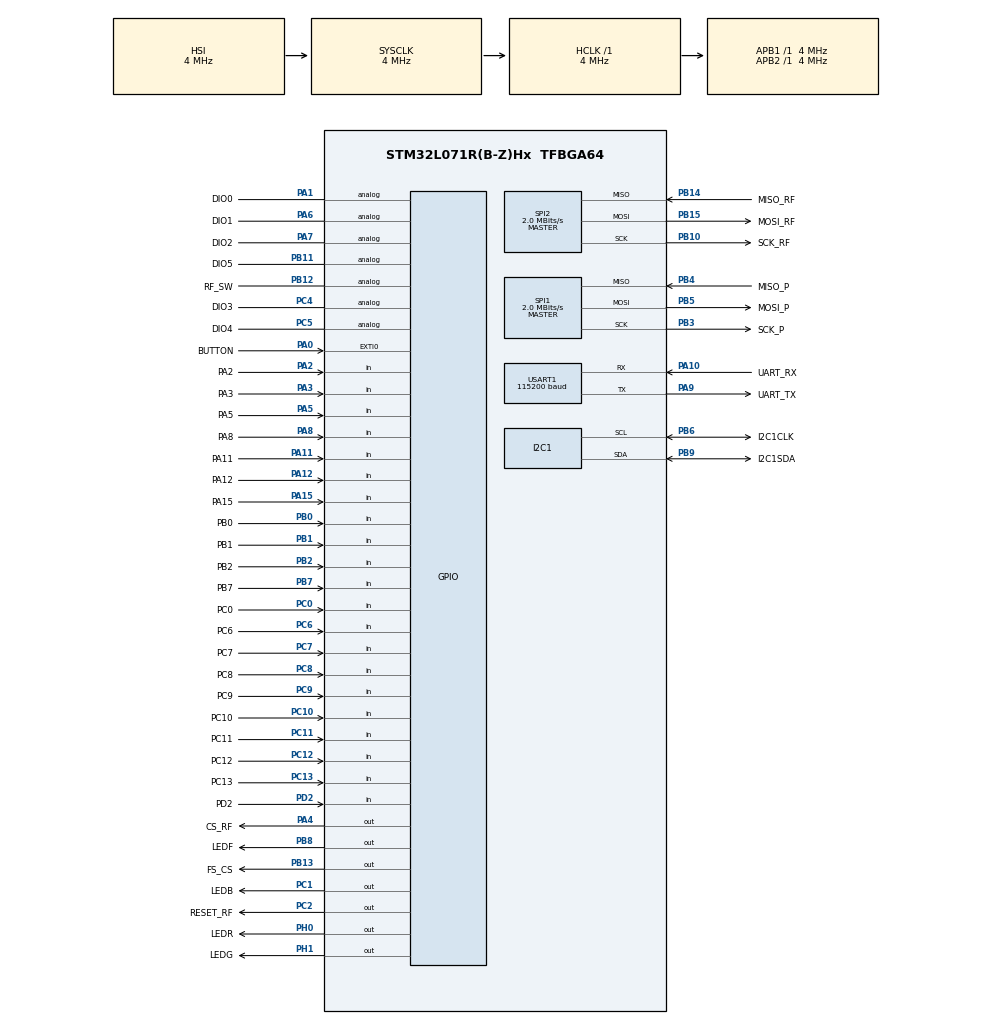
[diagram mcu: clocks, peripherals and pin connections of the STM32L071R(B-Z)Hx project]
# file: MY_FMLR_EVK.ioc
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I2C1.Timing=0x00000E14
Mcu.Family=STM32L0
Mcu.Name=STM32L071R(B-Z)Hx
Mcu.Package=TFBGA64
NVIC.RTC_IRQn=true\:0\:0\:false\:false\:true\:true\:true\:true
PA0.GPIO_Label=BUTTON
PA0.GPIO_ModeDefaultEXTI=GPIO_MODE_IT_RISING_FALLING
PA0.GPIO_PuPd=GPIO_PULLDOWN
PA0.Signal=GPXTI0
PA1.GPIO_Label=DIO0
PA1.Signal=GPIO_Analog
PA10.GPIO_Label=UART_RX
PA10.Mode=Asynchronous
PA10.Signal=USART1_RX
PA11.GPIO_Label=PA11
PA11.GPIO_PuPd=GPIO_PULLDOWN
PA11.Signal=GPIO_Input
PA12.GPIO_Label=PA12
PA12.GPIO_PuPd=GPIO_PULLDOWN
PA12.Signal=GPIO_Input
PA13.Mode=Serial_Wire
PA13.Signal=SYS_SWDIO
PA14.Mode=Serial_Wire
PA14.Signal=SYS_SWCLK
PA15.GPIO_Label=PA15
PA15.GPIO_PuPd=GPIO_PULLDOWN
PA15.Signal=GPIO_Input
PA2.GPIO_Label=PA2
PA2.GPIO_PuPd=GPIO_PULLDOWN
PA2.Signal=GPIO_Input
PA3.GPIO_Label=PA3
PA3.GPIO_PuPd=GPIO_PULLDOWN
PA3.Signal=GPIO_Input
PA4.GPIO_Label=CS_RF
PA4.PinState=GPIO_PIN_SET
PA4.Signal=GPIO_Output
PA5.GPIO_Label=PA5
PA5.GPIO_PuPd=GPIO_PULLDOWN
PA5.Signal=GPIO_Input
PA6.GPIO_Label=DIO1
PA6.Signal=GPIO_Analog
PA7.GPIO_Label=DIO2
PA7.Signal=GPIO_Analog
PA8.GPIO_Label=PA8
PA8.GPIO_PuPd=GPIO_PULLDOWN
PA8.Signal=GPIO_Input
PA9.GPIO_Label=UART_TX
PA9.GPIO_Speed=GPIO_SPEED_FREQ_HIGH
PA9.Mode=Asynchronous
PA9.Signal=USART1_TX
PB0.GPIO_Label=PB0
PB0.GPIO_PuPd=GPIO_PULLDOWN
PB0.Signal=GPIO_Input
PB1.GPIO_Label=PB1
PB1.GPIO_PuPd=GPIO_PULLDOWN
PB1.Signal=GPIO_Input
PB10.GPIO_Label=SCK_RF
PB10.Mode=Full_Duplex_Master
PB10.Signal=SPI2_SCK
PB11.GPIO_Label=DIO5
PB11.Signal=GPIO_Analog
PB12.GPIO_Label=RF_SW
PB12.Signal=GPIO_Analog
PB13.GPIO_Label=FS_CS
PB13.GPIO_ModeDefaultOutputPP=GPIO_MODE_OUTPUT_OD
PB13.GPIO_PuPd=GPIO_NOPULL
PB13.PinState=GPIO_PIN_SET
PB13.Signal=GPIO_Output
PB14.GPIO_Label=MISO_RF
PB14.Mode=Full_Duplex_Master
PB14.Signal=SPI2_MISO
PB15.GPIO_Label=MOSI_RF
PB15.Mode=Full_Duplex_Master
PB15.Signal=SPI2_MOSI
PB2.GPIO_Label=PB2
PB2.GPIO_PuPd=GPIO_PULLDOWN
PB2.Signal=GPIO_Input
PB3.GPIO_Label=SCK_P
PB3.Mode=Full_Duplex_Master
PB3.Signal=SPI1_SCK
PB4.GPIO_Label=MISO_P
PB4.GPIO_PuPd=GPIO_PULLUP
PB4.Mode=Full_Duplex_Master
PB4.Signal=SPI1_MISO
PB5.GPIO_Label=MOSI_P
PB5.Mode=Full_Duplex_Master
PB5.Signal=SPI1_MOSI
PB6.GPIO_FM6=__NULL
PB6.GPIO_Label=I2C1CLK
PB6.GPIO_Speed=GPIO_SPEED_FREQ_HIGH
PB6.Mode=I2C
PB6.Signal=I2C1_SCL
PB7.GPIO_Label=PB7
PB7.GPIO_PuPd=GPIO_PULLDOWN
PB7.Signal=GPIO_Input
PB8.GPIO_Label=LEDF
PB8.PinState=GPIO_PIN_SET
PB8.Signal=GPIO_Output
PB9.GPIO_Label=I2C1SDA
PB9.GPIO_Speed=GPIO_SPEED_FREQ_HIGH
PB9.Mode=I2C
PB9.Signal=I2C1_SDA
PC0.GPIO_Label=PC0
PC0.GPIO_PuPd=GPIO_PULLDOWN
PC0.Signal=GPIO_Input
PC1.GPIO_Label=LEDB
PC1.PinState=GPIO_PIN_SET
PC1.Signal=GPIO_Output
PC10.GPIO_Label=PC10
PC10.GPIO_PuPd=GPIO_PULLDOWN
PC10.Signal=GPIO_Input
PC11.GPIO_Label=PC11
PC11.GPIO_PuPd=GPIO_PULLDOWN
PC11.Signal=GPIO_Input
PC12.GPIO_Label=PC12
PC12.GPIO_PuPd=GPIO_PULLDOWN
PC12.Signal=GPIO_Input
PC13.GPIO_Label=PC13
PC13.GPIO_PuPd=GPIO_PULLDOWN
PC13.Signal=GPIO_Input
PC14-OSC32_IN.Mode=LSE-External-Oscillator
PC14-OSC32_IN.Signal=RCC_OSC32_IN
PC15-OSC32_OUT.Mode=LSE-External-Oscillator
PC15-OSC32_OUT.Signal=RCC_OSC32_OUT
PC2.GPIO_Label=RESET_RF
PC2.PinState=GPIO_PIN_SET
PC2.Signal=GPIO_Output
PC4.GPIO_Label=DIO3
PC4.Signal=GPIO_Analog
PC5.GPIO_Label=DIO4
PC5.Signal=GPIO_Analog
PC6.GPIO_Label=PC6
PC6.GPIO_PuPd=GPIO_PULLDOWN
PC6.Signal=GPIO_Input
PC7.GPIO_Label=PC7
PC7.GPIO_PuPd=GPIO_PULLDOWN
PC7.Signal=GPIO_Input
PC8.GPIO_Label=PC8
PC8.GPIO_PuPd=GPIO_PULLDOWN
PC8.Signal=GPIO_Input
PC9.GPIO_Label=PC9
PC9.GPIO_PuPd=GPIO_PULLDOWN
PC9.Signal=GPIO_Input
PD2.GPIO_Label=PD2
PD2.GPIO_PuPd=GPIO_PULLDOWN
PD2.Signal=GPIO_Input
PH0-OSC_IN.GPIO_Label=LEDR
PH0-OSC_IN.PinState=GPIO_PIN_SET
PH0-OSC_IN.Signal=GPIO_Output
PH1-OSC_OUT.GPIO_Label=LEDG
PH1-OSC_OUT.PinState=GPIO_PIN_SET
PH1-OSC_OUT.Signal=GPIO_Output
ProjectManager.HeapSize=0x200
ProjectManager.StackSize=0x400
ProjectManager.TargetToolchain=STM32CubeIDE
RCC.ADCFreq_Value=4000000
RCC.AHBFreq_Value=4000000
RCC.APB1Freq_Value=4000000
RCC.APB1TimFreq_Value=4000000
RCC.APB2Freq_Value=4000000
RCC.APB2TimFreq_Value=4000000
RCC.HCLKFreq_Value=4000000
RCC.HSE_VALUE=8000000
RCC.HSI16_VALUE=16000000
RCC.HSIRCDiv=4
RCC.HSI_VALUE=4000000
RCC.MSIClockRange=RCC_MSIRANGE_4
RCC.MSI_VALUE=1048000
RCC.PLLDIV=RCC_PLLDIV_4
RCC.PLLMUL=RCC_PLLMUL_4
RCC.SYSCLKFreq_VALUE=4000000
RCC.SYSCLKSource=RCC_SYSCLKSOURCE_HSI
RCC.Usart1ClockSelection=RCC_USART1CLKSOURCE_SYSCLK
RCC.VCOOutputFreq_Value=16000000
SPI1.BaudRatePrescaler=SPI_BAUDRATEPRESCALER_2
SPI1.CLKPhase=SPI_PHASE_2EDGE
SPI1.CLKPolarity=SPI_POLARITY_HIGH
SPI1.CalculateBaudRate=2.0 MBits/s
SPI1.Direction=SPI_DIRECTION_2LINES
SPI1.Mode=SPI_MODE_MASTER
SPI1.VirtualType=VM_MASTER
SPI2.BaudRatePrescaler=SPI_BAUDRATEPRESCALER_2
SPI2.CalculateBaudRate=2.0 MBits/s
SPI2.Direction=SPI_DIRECTION_2LINES
SPI2.Mode=SPI_MODE_MASTER
SPI2.VirtualType=VM_MASTER
USART1.BaudRate=115200
USART1.VirtualMode-Asynchronous=VM_ASYNC
VP_ADC_TempSens_Input.Mode=IN-TempSens
VP_ADC_Vref_Input.Mode=IN-Vrefint
VP_RTC_VS_RTC_Activate.Mode=RTC_Enabled
VP_RTC_VS_RTC_Calendar.Mode=RTC_Calendar
VP_RTC_VS_RTC_WakeUp_intern.Mode=WakeUp
board=custom

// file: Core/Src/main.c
/* USER CODE BEGIN Header */
/**
  ******************************************************************************
  * @file           : main.c
  * @brief          : Main program body
  ******************************************************************************
  * @attention
  *
  * Copyright (c) 2022 STMicroelectronics.
  * All rights reserved.
  *
  * This software is licensed under terms that can be found in the LICENSE file
  * in the root directory of this software component.
  * If no LICENSE file comes with this software, it is provided AS-IS.
  *
  ******************************************************************************
  */
/* USER CODE END Header */
#include "main.h"

/* USER CODE BEGIN Includes */
#include "Retarget.h"
#include <stdio.h>
#include <string.h>
/* USER CODE END Includes */

/* USER CODE BEGIN PTD */
#define SPI_TIMEOUT_SECS 	3
#define ONE_BYTE 		1
#define TWO_BYTES		2
#define OK 0
#define UART_TIMEOUT		10
#define I2C_TIMEOUT		10
#define SHT31_ADDRESS 		0x8A // Note: Addr << 1
#define SHORT_BLINK   		100
#define LONG_BLINK 		500
/* USER CODE END PTD */

 ADC_HandleTypeDef hadc;

I2C_HandleTypeDef hi2c1;

RTC_HandleTypeDef hrtc;

SPI_HandleTypeDef hspi1;
SPI_HandleTypeDef hspi2;

UART_HandleTypeDef huart1;

/* USER CODE BEGIN PV */
enum  rgb_t { RED, YELLOW, GREEN, CYAN, BLUE, MAGENTA, WHITE, BLACK } ;
/* USER CODE END PV */

void SystemClock_Config(void);
static void MX_GPIO_Init(void);
static void MX_ADC_Init(void);
static void MX_SPI1_Init(void);
static void MX_USART1_UART_Init(void);
static void MX_SPI2_Init(void);
static void MX_I2C1_Init(void);
static void MX_RTC_Init(void);
/* USER CODE BEGIN PFP */
void Error_Msg_Handler(const char *msg);
void EnterStopMode(void);
uint8_t readRegSpi(SPI_HandleTypeDef *hspi, uint8_t reg);
void writeRegSpi(SPI_HandleTypeDef *hspi, uint8_t reg, uint8_t data);
void setRgbLed(int led);
void spiToLowPowerState(void);
/* USER CODE END PFP */

int main(void)
{

  /* MCU Configuration--------------------------------------------------------*/

  /* Reset of all peripherals, Initializes the Flash interface and the Systick. */
  HAL_Init();

  /* Configure the system clock */
  SystemClock_Config();

  /* Initialize all configured peripherals */
  MX_GPIO_Init();
  MX_ADC_Init();
  MX_SPI1_Init();
  MX_USART1_UART_Init();
  MX_SPI2_Init();
  MX_I2C1_Init();
  MX_RTC_Init();
  /* USER CODE BEGIN 2 */
  // Redirect printf to UART1
  RetargetInit(&huart1);

  // Run at Range 2 (Core voltage 1.5V) @ 4MHz to reduce run mode power slightly
  __HAL_PWR_VOLTAGESCALING_CONFIG(PWR_REGULATOR_VOLTAGE_SCALE2);

  /* USER CODE END 2 */

  /* Infinite loop */
  /* USER CODE BEGIN WHILE */
  // Check SHT31 communication over I2C1
   uint8_t reset_cmd[2] = {0x30, 0xa2};
   if (HAL_I2C_Master_Transmit(&hi2c1, SHT31_ADDRESS, reset_cmd, 2, 1000) == HAL_OK) {
 	  printf("\n\rSHT31 successfully reset");
   }
   else {
 	  Error_Msg_Handler("\n\rSHT31 reset failed!");
   }

   // SX1272 is in FSO/OOK mode after reset
   HAL_GPIO_WritePin (RESET_RF_GPIO_Port, RESET_RF_Pin, GPIO_PIN_RESET);
   HAL_Delay(1);
   HAL_GPIO_WritePin (RESET_RF_GPIO_Port, RESET_RF_Pin, GPIO_PIN_SET);
   HAL_Delay(1);
   HAL_GPIO_WritePin (RESET_RF_GPIO_Port, RESET_RF_Pin, GPIO_PIN_RESET);
   HAL_Delay(10);

   // Check SX1272 SPI2 communication
   uint8_t sx_id = readRegSpi(&hspi2,0x42);
   if (sx_id == 0x22) {
       printf("\n\rSX1272 chip ID read OK: %x", sx_id);
   }
   else {
       Error_Msg_Handler("\n\rSX1272 ID read failure!");
   }

   // Send commands to put Semtech SX1272 to sleep
   // (Don't forget to set Bit7 (MSB) of register address for writing!)
   writeRegSpi(&hspi2, 0xC0, 0xFF); // DIOmapping1  to --
   writeRegSpi(&hspi2, 0xC1, 0xFF); // DIOmapping2 to --
   HAL_Delay(10);
   writeRegSpi(&hspi2, 0x81, 0x01); // CRTL1 to STBY mode
   HAL_Delay(10);
   writeRegSpi(&hspi2, 0xA4, 0x07); // REGOSC to CLKOUT=off
   HAL_Delay(10);
   writeRegSpi(&hspi2, 0x81, 0x00); // CTRL1 to SLEEP mode

   //Change SX1272 to LoRa mode from default FSK/OOK:
   HAL_Delay(10);
   writeRegSpi(&hspi2, 0x81, 0x80); // CTRL1 to SLEEP mode
   HAL_GPIO_WritePin (CS_RF_GPIO_Port, CS_RF_Pin, GPIO_PIN_SET);
   printf("\n\rSX1272 should now be in STANDBY mode...");

   // Read MX25 flash ID, then put flash to deep sleep
  uint8_t read_id_cmd[4] = {0x9F,0x55,0xAA,0x55};
  uint8_t read_result[4];
  // CHeck MX25 SPI1 can read chip ID bytes 0xC22813
  HAL_GPIO_WritePin (FS_CS_GPIO_Port, FS_CS_Pin, GPIO_PIN_RESET);
  HAL_SPI_TransmitReceive(&hspi1, read_id_cmd, read_result, 4, SPI_TIMEOUT_SECS);
  HAL_GPIO_WritePin (FS_CS_GPIO_Port, FS_CS_Pin, GPIO_PIN_SET);
  if  (read_result[1]==0xC2 &&  read_result[2]==0x28 && read_result[3]==0x13) {
      printf("\n\rMX25 chip ID read OK: %x %x %x",read_result[1], read_result[2], read_result[3]);
  }
  else {
      Error_Msg_Handler ("MX25 SPI1 ID read failure!");
  }

  uint8_t sleep_command[1] = {0xB9};
  HAL_GPIO_WritePin (FS_CS_GPIO_Port, FS_CS_Pin, GPIO_PIN_RESET);
  HAL_SPI_Transmit(&hspi1, sleep_command, 1, SPI_TIMEOUT_SECS);
  HAL_GPIO_WritePin (FS_CS_GPIO_Port, FS_CS_Pin, GPIO_PIN_SET);
  printf("\n\rMX25 put to deep sleep.");

  printf("\n\rAbout to put STM32 to STOP mode...");
  // Blink LED a few times
  for (int i=0; i<3; i++)
  {
	setRgbLed(MAGENTA);
	HAL_Delay(SHORT_BLINK);
	setRgbLed(BLACK);
	HAL_Delay(SHORT_BLINK);
  }

  EnterStopMode();

  for (int i=0; i<3; i++)
  {
	setRgbLed(YELLOW);
	HAL_Delay(SHORT_BLINK);
	setRgbLed(BLACK);
	HAL_Delay(SHORT_BLINK);
  }
  printf("\n\rSTM32 has resumed execution...");

  while (1)
  {
    /* USER CODE END WHILE */

  }
}

void SystemClock_Config(void)
{
  RCC_OscInitTypeDef RCC_OscInitStruct = {0};
  RCC_ClkInitTypeDef RCC_ClkInitStruct = {0};
  RCC_PeriphCLKInitTypeDef PeriphClkInit = {0};

  /** Configure the main internal regulator output voltage
  */
  __HAL_PWR_VOLTAGESCALING_CONFIG(PWR_REGULATOR_VOLTAGE_SCALE1);

  /** Initializes the RCC Oscillators according to the specified parameters
  * in the RCC_OscInitTypeDef structure.
  */
  RCC_OscInitStruct.OscillatorType = RCC_OSCILLATORTYPE_HSI|RCC_OSCILLATORTYPE_LSI;
  RCC_OscInitStruct.HSIState = RCC_HSI_DIV4;
  RCC_OscInitStruct.HSICalibrationValue = RCC_HSICALIBRATION_DEFAULT;
  RCC_OscInitStruct.LSIState = RCC_LSI_ON;
  RCC_OscInitStruct.PLL.PLLState = RCC_PLL_NONE;
  if (HAL_RCC_OscConfig(&RCC_OscInitStruct) != HAL_OK)
  {
    Error_Handler();
  }

  /** Initializes the CPU, AHB and APB buses clocks
  */
  RCC_ClkInitStruct.ClockType = RCC_CLOCKTYPE_HCLK|RCC_CLOCKTYPE_SYSCLK
                              |RCC_CLOCKTYPE_PCLK1|RCC_CLOCKTYPE_PCLK2;
  RCC_ClkInitStruct.SYSCLKSource = RCC_SYSCLKSOURCE_HSI;
  RCC_ClkInitStruct.AHBCLKDivider = RCC_SYSCLK_DIV1;
  RCC_ClkInitStruct.APB1CLKDivider = RCC_HCLK_DIV1;
  RCC_ClkInitStruct.APB2CLKDivider = RCC_HCLK_DIV1;

  if (HAL_RCC_ClockConfig(&RCC_ClkInitStruct, FLASH_LATENCY_0) != HAL_OK)
  {
    Error_Handler();
  }
  PeriphClkInit.PeriphClockSelection = RCC_PERIPHCLK_USART1|RCC_PERIPHCLK_I2C1
                              |RCC_PERIPHCLK_RTC;
  PeriphClkInit.Usart1ClockSelection = RCC_USART1CLKSOURCE_SYSCLK;
  PeriphClkInit.I2c1ClockSelection = RCC_I2C1CLKSOURCE_PCLK1;
  PeriphClkInit.RTCClockSelection = RCC_RTCCLKSOURCE_LSI;
  if (HAL_RCCEx_PeriphCLKConfig(&PeriphClkInit) != HAL_OK)
  {
    Error_Handler();
  }
}

static void MX_ADC_Init(void)
{

  ADC_ChannelConfTypeDef sConfig = {0};

  /** Configure the global features of the ADC (Clock, Resolution, Data Alignment and number of conversion)
  */
  hadc.Instance = ADC1;
  hadc.Init.OversamplingMode = DISABLE;
  hadc.Init.ClockPrescaler = ADC_CLOCK_SYNC_PCLK_DIV1;
  hadc.Init.Resolution = ADC_RESOLUTION_12B;
  hadc.Init.SamplingTime = ADC_SAMPLETIME_1CYCLE_5;
  hadc.Init.ScanConvMode = ADC_SCAN_DIRECTION_FORWARD;
  hadc.Init.DataAlign = ADC_DATAALIGN_RIGHT;
  hadc.Init.ContinuousConvMode = DISABLE;
  hadc.Init.DiscontinuousConvMode = DISABLE;
  hadc.Init.ExternalTrigConvEdge = ADC_EXTERNALTRIGCONVEDGE_NONE;
  hadc.Init.ExternalTrigConv = ADC_SOFTWARE_START;
  hadc.Init.DMAContinuousRequests = DISABLE;
  hadc.Init.EOCSelection = ADC_EOC_SINGLE_CONV;
  hadc.Init.Overrun = ADC_OVR_DATA_PRESERVED;
  hadc.Init.LowPowerAutoWait = DISABLE;
  hadc.Init.LowPowerFrequencyMode = DISABLE;
  hadc.Init.LowPowerAutoPowerOff = DISABLE;
  if (HAL_ADC_Init(&hadc) != HAL_OK)
  {
    Error_Handler();
  }

  /** Configure for the selected ADC regular channel to be converted.
  */
  sConfig.Channel = ADC_CHANNEL_TEMPSENSOR;
  sConfig.Rank = ADC_RANK_CHANNEL_NUMBER;
  if (HAL_ADC_ConfigChannel(&hadc, &sConfig) != HAL_OK)
  {
    Error_Handler();
  }

  /** Configure for the selected ADC regular channel to be converted.
  */
  sConfig.Channel = ADC_CHANNEL_VREFINT;
  if (HAL_ADC_ConfigChannel(&hadc, &sConfig) != HAL_OK)
  {
    Error_Handler();
  }

}

static void MX_I2C1_Init(void)
{

  hi2c1.Instance = I2C1;
  hi2c1.Init.Timing = 0x00000E14;
  hi2c1.Init.OwnAddress1 = 0;
  hi2c1.Init.AddressingMode = I2C_ADDRESSINGMODE_7BIT;
  hi2c1.Init.DualAddressMode = I2C_DUALADDRESS_DISABLE;
  hi2c1.Init.OwnAddress2 = 0;
  hi2c1.Init.OwnAddress2Masks = I2C_OA2_NOMASK;
  hi2c1.Init.GeneralCallMode = I2C_GENERALCALL_DISABLE;
  hi2c1.Init.NoStretchMode = I2C_NOSTRETCH_DISABLE;
  if (HAL_I2C_Init(&hi2c1) != HAL_OK)
  {
    Error_Handler();
  }

  /** Configure Analogue filter
  */
  if (HAL_I2CEx_ConfigAnalogFilter(&hi2c1, I2C_ANALOGFILTER_ENABLE) != HAL_OK)
  {
    Error_Handler();
  }

  /** Configure Digital filter
  */
  if (HAL_I2CEx_ConfigDigitalFilter(&hi2c1, 0) != HAL_OK)
  {
    Error_Handler();
  }

}

static void MX_RTC_Init(void)
{

  RTC_TimeTypeDef sTime = {0};
  RTC_DateTypeDef sDate = {0};

  /** Initialize RTC Only
  */
  hrtc.Instance = RTC;
  hrtc.Init.HourFormat = RTC_HOURFORMAT_24;
  hrtc.Init.AsynchPrediv = 127;
  hrtc.Init.SynchPrediv = 255;
  hrtc.Init.OutPut = RTC_OUTPUT_DISABLE;
  hrtc.Init.OutPutRemap = RTC_OUTPUT_REMAP_NONE;
  hrtc.Init.OutPutPolarity = RTC_OUTPUT_POLARITY_HIGH;
  hrtc.Init.OutPutType = RTC_OUTPUT_TYPE_OPENDRAIN;
  if (HAL_RTC_Init(&hrtc) != HAL_OK)
  {
    Error_Handler();
  }

  /** Initialize RTC and set the Time and Date
  */
  sTime.Hours = 0x0;
  sTime.Minutes = 0x0;
  sTime.Seconds = 0x0;
  sTime.DayLightSaving = RTC_DAYLIGHTSAVING_NONE;
  sTime.StoreOperation = RTC_STOREOPERATION_RESET;
  if (HAL_RTC_SetTime(&hrtc, &sTime, RTC_FORMAT_BCD) != HAL_OK)
  {
    Error_Handler();
  }
  sDate.WeekDay = RTC_WEEKDAY_MONDAY;
  sDate.Month = RTC_MONTH_JANUARY;
  sDate.Date = 0x1;
  sDate.Year = 0x0;

  if (HAL_RTC_SetDate(&hrtc, &sDate, RTC_FORMAT_BCD) != HAL_OK)
  {
    Error_Handler();
  }

  /** Enable the WakeUp
  */
  if (HAL_RTCEx_SetWakeUpTimer_IT(&hrtc, 0, RTC_WAKEUPCLOCK_RTCCLK_DIV16) != HAL_OK)
  {
    Error_Handler();
  }

}

static void MX_SPI1_Init(void)
{

  /* SPI1 parameter configuration*/
  hspi1.Instance = SPI1;
  hspi1.Init.Mode = SPI_MODE_MASTER;
  hspi1.Init.Direction = SPI_DIRECTION_2LINES;
  hspi1.Init.DataSize = SPI_DATASIZE_8BIT;
  hspi1.Init.CLKPolarity = SPI_POLARITY_HIGH;
  hspi1.Init.CLKPhase = SPI_PHASE_2EDGE;
  hspi1.Init.NSS = SPI_NSS_SOFT;
  hspi1.Init.BaudRatePrescaler = SPI_BAUDRATEPRESCALER_2;
  hspi1.Init.FirstBit = SPI_FIRSTBIT_MSB;
  hspi1.Init.TIMode = SPI_TIMODE_DISABLE;
  hspi1.Init.CRCCalculation = SPI_CRCCALCULATION_DISABLE;
  hspi1.Init.CRCPolynomial = 7;
  if (HAL_SPI_Init(&hspi1) != HAL_OK)
  {
    Error_Handler();
  }

}

static void MX_SPI2_Init(void)
{

  /* SPI2 parameter configuration*/
  hspi2.Instance = SPI2;
  hspi2.Init.Mode = SPI_MODE_MASTER;
  hspi2.Init.Direction = SPI_DIRECTION_2LINES;
  hspi2.Init.DataSize = SPI_DATASIZE_8BIT;
  hspi2.Init.CLKPolarity = SPI_POLARITY_LOW;
  hspi2.Init.CLKPhase = SPI_PHASE_1EDGE;
  hspi2.Init.NSS = SPI_NSS_SOFT;
  hspi2.Init.BaudRatePrescaler = SPI_BAUDRATEPRESCALER_2;
  hspi2.Init.FirstBit = SPI_FIRSTBIT_MSB;
  hspi2.Init.TIMode = SPI_TIMODE_DISABLE;
  hspi2.Init.CRCCalculation = SPI_CRCCALCULATION_DISABLE;
  hspi2.Init.CRCPolynomial = 7;
  if (HAL_SPI_Init(&hspi2) != HAL_OK)
  {
    Error_Handler();
  }

}

static void MX_USART1_UART_Init(void)
{

  huart1.Instance = USART1;
  huart1.Init.BaudRate = 115200;
  huart1.Init.WordLength = UART_WORDLENGTH_8B;
  huart1.Init.StopBits = UART_STOPBITS_1;
  huart1.Init.Parity = UART_PARITY_NONE;
  huart1.Init.Mode = UART_MODE_TX_RX;
  huart1.Init.HwFlowCtl = UART_HWCONTROL_NONE;
  huart1.Init.OverSampling = UART_OVERSAMPLING_16;
  huart1.Init.OneBitSampling = UART_ONE_BIT_SAMPLE_DISABLE;
  huart1.AdvancedInit.AdvFeatureInit = UART_ADVFEATURE_NO_INIT;
  if (HAL_UART_Init(&huart1) != HAL_OK)
  {
    Error_Handler();
  }

}

static void MX_GPIO_Init(void)
{
  GPIO_InitTypeDef GPIO_InitStruct = {0};

  /* GPIO Ports Clock Enable */
  __HAL_RCC_GPIOC_CLK_ENABLE();
  __HAL_RCC_GPIOB_CLK_ENABLE();
  __HAL_RCC_GPIOA_CLK_ENABLE();
  __HAL_RCC_GPIOD_CLK_ENABLE();
  __HAL_RCC_GPIOH_CLK_ENABLE();

  /*Configure GPIO pin Output Level */
  HAL_GPIO_WritePin(GPIOB, LEDF_Pin|FS_CS_Pin, GPIO_PIN_SET);

  /*Configure GPIO pin Output Level */
  HAL_GPIO_WritePin(GPIOH, LEDR_Pin|LEDG_Pin, GPIO_PIN_SET);

  /*Configure GPIO pin Output Level */
  HAL_GPIO_WritePin(GPIOC, LEDB_Pin|RESET_RF_Pin, GPIO_PIN_SET);

  /*Configure GPIO pin Output Level */
  HAL_GPIO_WritePin(CS_RF_GPIO_Port, CS_RF_Pin, GPIO_PIN_SET);

  /*Configure GPIO pins : PC13_Pin PC11_Pin PC10_Pin PC12_Pin
                           PC9_Pin PC0_Pin PC7_Pin PC8_Pin
                           PC6_Pin */
  GPIO_InitStruct.Pin = PC13_Pin|PC11_Pin|PC10_Pin|PC12_Pin
                          |PC9_Pin|PC0_Pin|PC7_Pin|PC8_Pin
                          |PC6_Pin;
  GPIO_InitStruct.Mode = GPIO_MODE_INPUT;
  GPIO_InitStruct.Pull = GPIO_PULLDOWN;
  HAL_GPIO_Init(GPIOC, &GPIO_InitStruct);

  /*Configure GPIO pins : PA15_Pin PA12_Pin PA11_Pin PA8_Pin
                           PA2_Pin PA5_Pin PA3_Pin */
  GPIO_InitStruct.Pin = PA15_Pin|PA12_Pin|PA11_Pin|PA8_Pin
                          |PA2_Pin|PA5_Pin|PA3_Pin;
  GPIO_InitStruct.Mode = GPIO_MODE_INPUT;
  GPIO_InitStruct.Pull = GPIO_PULLDOWN;
  HAL_GPIO_Init(GPIOA, &GPIO_InitStruct);

  /*Configure GPIO pin : LEDF_Pin */
  GPIO_InitStruct.Pin = LEDF_Pin;
  GPIO_InitStruct.Mode = GPIO_MODE_OUTPUT_PP;
  GPIO_InitStruct.Pull = GPIO_NOPULL;
  GPIO_InitStruct.Speed = GPIO_SPEED_FREQ_LOW;
  HAL_GPIO_Init(LEDF_GPIO_Port, &GPIO_InitStruct);

  /*Configure GPIO pin : PD2_Pin */
  GPIO_InitStruct.Pin = PD2_Pin;
  GPIO_InitStruct.Mode = GPIO_MODE_INPUT;
  GPIO_InitStruct.Pull = GPIO_PULLDOWN;
  HAL_GPIO_Init(PD2_GPIO_Port, &GPIO_InitStruct);

  /*Configure GPIO pins : LEDR_Pin LEDG_Pin */
  GPIO_InitStruct.Pin = LEDR_Pin|LEDG_Pin;
  GPIO_InitStruct.Mode = GPIO_MODE_OUTPUT_PP;
  GPIO_InitStruct.Pull = GPIO_NOPULL;
  GPIO_InitStruct.Speed = GPIO_SPEED_FREQ_LOW;
  HAL_GPIO_Init(GPIOH, &GPIO_InitStruct);

  /*Configure GPIO pins : PB7_Pin PB0_Pin PB1_Pin PB2_Pin */
  GPIO_InitStruct.Pin = PB7_Pin|PB0_Pin|PB1_Pin|PB2_Pin;
  GPIO_InitStruct.Mode = GPIO_MODE_INPUT;
  GPIO_InitStruct.Pull = GPIO_PULLDOWN;
  HAL_GPIO_Init(GPIOB, &GPIO_InitStruct);

  /*Configure GPIO pins : LEDB_Pin RESET_RF_Pin */
  GPIO_InitStruct.Pin = LEDB_Pin|RESET_RF_Pin;
  GPIO_InitStruct.Mode = GPIO_MODE_OUTPUT_PP;
  GPIO_InitStruct.Pull = GPIO_NOPULL;
  GPIO_InitStruct.Speed = GPIO_SPEED_FREQ_LOW;
  HAL_GPIO_Init(GPIOC, &GPIO_InitStruct);

  /*Configure GPIO pin : BUTTON_Pin */
  GPIO_InitStruct.Pin = BUTTON_Pin;
  GPIO_InitStruct.Mode = GPIO_MODE_IT_RISING_FALLING;
  GPIO_InitStruct.Pull = GPIO_PULLDOWN;
  HAL_GPIO_Init(BUTTON_GPIO_Port, &GPIO_InitStruct);

  /*Configure GPIO pins : DIO1_Pin DIO0_Pin DIO2_Pin */
  GPIO_InitStruct.Pin = DIO1_Pin|DIO0_Pin|DIO2_Pin;
  GPIO_InitStruct.Mode = GPIO_MODE_ANALOG;
  GPIO_InitStruct.Pull = GPIO_NOPULL;
  HAL_GPIO_Init(GPIOA, &GPIO_InitStruct);

  /*Configure GPIO pin : FS_CS_Pin */
  GPIO_InitStruct.Pin = FS_CS_Pin;
  GPIO_InitStruct.Mode = GPIO_MODE_OUTPUT_OD;
  GPIO_InitStruct.Pull = GPIO_NOPULL;
  GPIO_InitStruct.Speed = GPIO_SPEED_FREQ_LOW;
  HAL_GPIO_Init(FS_CS_GPIO_Port, &GPIO_InitStruct);

  /*Configure GPIO pin : CS_RF_Pin */
  GPIO_InitStruct.Pin = CS_RF_Pin;
  GPIO_InitStruct.Mode = GPIO_MODE_OUTPUT_PP;
  GPIO_InitStruct.Pull = GPIO_NOPULL;
  GPIO_InitStruct.Speed = GPIO_SPEED_FREQ_LOW;
  HAL_GPIO_Init(CS_RF_GPIO_Port, &GPIO_InitStruct);

  /*Configure GPIO pins : DIO3_Pin DIO4_Pin */
  GPIO_InitStruct.Pin = DIO3_Pin|DIO4_Pin;
  GPIO_InitStruct.Mode = GPIO_MODE_ANALOG;
  GPIO_InitStruct.Pull = GPIO_NOPULL;
  HAL_GPIO_Init(GPIOC, &GPIO_InitStruct);

  /*Configure GPIO pins : DIO5_Pin RF_SW_Pin */
  GPIO_InitStruct.Pin = DIO5_Pin|RF_SW_Pin;
  GPIO_InitStruct.Mode = GPIO_MODE_ANALOG;
  GPIO_InitStruct.Pull = GPIO_NOPULL;
  HAL_GPIO_Init(GPIOB, &GPIO_InitStruct);

}

/* USER CODE BEGIN 4 */
void EnterStopMode(void)
{
  // Configure all GPIO port pins to optimal states for low power
  printf("\n\rsetting SPI1/2 lines to low power state...");
  spiToLowPowerState();
  HAL_Delay(5);

  // Disable GPIOs clock
  __HAL_RCC_GPIOC_CLK_DISABLE();
  __HAL_RCC_GPIOB_CLK_DISABLE();
  __HAL_RCC_GPIOA_CLK_DISABLE();
  __HAL_RCC_GPIOD_CLK_DISABLE();
  __HAL_RCC_GPIOH_CLK_DISABLE();

  // Turn off peripherals except RTC
  HAL_ADC_Stop_IT(&hadc);
  HAL_ADC_DeInit(&hadc);
  HAL_SPI_DeInit(&hspi1);
  HAL_SPI_DeInit(&hspi2);
  HAL_I2C_DeInit(&hi2c1);
  HAL_UART_DeInit(&huart1);

  // Clear old RTC Wake Timer settings
  HAL_RTCEx_DeactivateWakeUpTimer(&hrtc);

  // Enable wake-up pin
  HAL_PWR_EnableWakeUpPin(PWR_WAKEUP_PIN1);

  // Set RTC to wake up afer about 28s
   if (HAL_RTCEx_SetWakeUpTimer_IT(&hrtc, 0xFFFF, RTC_WAKEUPCLOCK_RTCCLK_DIV16) != HAL_OK)
  {
       Error_Msg_Handler("HAL_RTCEx_SetWakeUpTimer_IT failure!");
  }

  // Stop the 1ms SysTick
  HAL_SuspendTick();

  // Disable the Fast WakeUp from Ultra Low Power mode
  HAL_PWREx_DisableFastWakeUp();

  // set ULP bit for further power saving, see TRM p154
  HAL_PWREx_EnableUltraLowPower();

  // Clear the WU FLAG
   __HAL_PWR_CLEAR_FLAG(PWR_FLAG_WU);

  // Clear the RTC Wake UP (WU) flag
  __HAL_RTC_WAKEUPTIMER_CLEAR_FLAG(&hrtc, RTC_FLAG_WUTF);

  // Make sure event register is cleared before enabling interrupts or entering stop mode
  __SEV(); // Manally set an event
  __WFE(); // Then wait for event. This will then immediately clear the event register

  // Enable interrupt servicing
  __enable_irq();

  // Enter Stop Mode
  HAL_PWR_EnterSTOPMode(PWR_LOWPOWERREGULATOR_ON, PWR_STOPENTRY_WFI);
  //HAL_PWR_EnterSTANDBYMode();

  //....WAKE UP CONTINUES FROM HERE...

  // init the SYS Clocks
  SystemClock_Config();
  HAL_RTCEx_DeactivateWakeUpTimer(&hrtc);
  HAL_ResumeTick();

  /* Clear Peripheral States for MspInit */
  huart1.gState = HAL_UART_STATE_RESET;
  hi2c1.State   = HAL_I2C_STATE_RESET;
  hadc.State    = HAL_ADC_STATE_RESET;
  hspi1.State    = HAL_SPI_STATE_RESET;
  hspi2.State    = HAL_SPI_STATE_RESET;

  /* Re-initialize things */
  MX_GPIO_Init();
  MX_USART1_UART_Init();
  MX_I2C1_Init();
  MX_SPI1_Init();
  MX_SPI2_Init();
  MX_RTC_Init();
  MX_ADC_Init();
}

void writeRegSpi(SPI_HandleTypeDef *hspi, uint8_t reg, uint8_t data)
{
  HAL_GPIO_WritePin (CS_RF_GPIO_Port, CS_RF_Pin, GPIO_PIN_RESET);
  uint8_t reg_data[2] = {reg, data};
  HAL_SPI_Transmit(hspi, reg_data, TWO_BYTES, SPI_TIMEOUT_SECS);
HAL_GPIO_WritePin (CS_RF_GPIO_Port, CS_RF_Pin, GPIO_PIN_SET);

}

uint8_t readRegSpi(SPI_HandleTypeDef *hspi, uint8_t reg)
{
  uint8_t data = 0;
  HAL_GPIO_WritePin (CS_RF_GPIO_Port, CS_RF_Pin, GPIO_PIN_RESET);
  HAL_SPI_Transmit(hspi, &reg, ONE_BYTE, SPI_TIMEOUT_SECS);
  HAL_SPI_Receive(hspi,  &data, ONE_BYTE, SPI_TIMEOUT_SECS);
  HAL_GPIO_WritePin (CS_RF_GPIO_Port, CS_RF_Pin, GPIO_PIN_SET);
return data;
}

void setRgbLed(int led) {

  switch (led)
  {
  case RED:
	    HAL_GPIO_WritePin (LEDR_GPIO_Port, LEDR_Pin, GPIO_PIN_RESET);
	    HAL_GPIO_WritePin (LEDG_GPIO_Port, LEDG_Pin, GPIO_PIN_SET);
	    HAL_GPIO_WritePin (LEDB_GPIO_Port, LEDB_Pin, GPIO_PIN_SET);
	    break;
  case YELLOW:
	    HAL_GPIO_WritePin (LEDR_GPIO_Port, LEDR_Pin, GPIO_PIN_RESET);
	    HAL_GPIO_WritePin (LEDG_GPIO_Port, LEDG_Pin, GPIO_PIN_RESET);
	    HAL_GPIO_WritePin (LEDB_GPIO_Port, LEDB_Pin, GPIO_PIN_SET);
	    break;
  case GREEN:
	    HAL_GPIO_WritePin (LEDR_GPIO_Port, LEDR_Pin, GPIO_PIN_SET);
	    HAL_GPIO_WritePin (LEDG_GPIO_Port, LEDG_Pin, GPIO_PIN_RESET);
	    HAL_GPIO_WritePin (LEDB_GPIO_Port, LEDB_Pin, GPIO_PIN_SET);
	    break;
  case CYAN:
	    HAL_GPIO_WritePin (LEDR_GPIO_Port, LEDR_Pin, GPIO_PIN_SET);
	    HAL_GPIO_WritePin (LEDG_GPIO_Port, LEDG_Pin, GPIO_PIN_RESET);
	    HAL_GPIO_WritePin (LEDB_GPIO_Port, LEDB_Pin, GPIO_PIN_RESET);
		    break;
  case BLUE:
	    HAL_GPIO_WritePin (LEDR_GPIO_Port, LEDR_Pin, GPIO_PIN_SET);
	    HAL_GPIO_WritePin (LEDG_GPIO_Port, LEDG_Pin, GPIO_PIN_SET);
	    HAL_GPIO_WritePin (LEDB_GPIO_Port, LEDB_Pin, GPIO_PIN_RESET);
	    break;
  case MAGENTA:
	    HAL_GPIO_WritePin (LEDR_GPIO_Port, LEDR_Pin, GPIO_PIN_RESET);
	    HAL_GPIO_WritePin (LEDG_GPIO_Port, LEDG_Pin, GPIO_PIN_SET);
	    HAL_GPIO_WritePin (LEDB_GPIO_Port, LEDB_Pin, GPIO_PIN_RESET);
	    break;
  case WHITE:
	    HAL_GPIO_WritePin (LEDR_GPIO_Port, LEDR_Pin, GPIO_PIN_RESET);
	    HAL_GPIO_WritePin (LEDG_GPIO_Port, LEDG_Pin, GPIO_PIN_RESET);
	    HAL_GPIO_WritePin (LEDB_GPIO_Port, LEDB_Pin, GPIO_PIN_RESET);
	    break;
  case BLACK:
	    HAL_GPIO_WritePin (LEDR_GPIO_Port, LEDR_Pin, GPIO_PIN_SET);
	    HAL_GPIO_WritePin (LEDG_GPIO_Port, LEDG_Pin, GPIO_PIN_SET);
	    HAL_GPIO_WritePin (LEDB_GPIO_Port, LEDB_Pin, GPIO_PIN_SET);
	    break;

  }
}

void spiToLowPowerState(void)
{
  GPIO_InitTypeDef GPIO_InitStruct = {0};

  // SPI1 to MX25 Flash - drive lines as low outputs
  HAL_SPI_DeInit(&hspi1);
  GPIO_InitStruct.Pin = SCK_P_Pin;
  GPIO_InitStruct.Mode = GPIO_MODE_OUTPUT_PP;
  GPIO_InitStruct.Pull = GPIO_NOPULL;
  GPIO_InitStruct.Speed = GPIO_SPEED_FREQ_LOW;
  HAL_GPIO_WritePin (SCK_P_GPIO_Port, SCK_P_Pin, GPIO_PIN_RESET);
  HAL_GPIO_Init(SCK_P_GPIO_Port, &GPIO_InitStruct);

  GPIO_InitStruct.Pin = MOSI_P_Pin;
  GPIO_InitStruct.Mode = GPIO_MODE_OUTPUT_PP;
  GPIO_InitStruct.Pull = GPIO_NOPULL;
  GPIO_InitStruct.Speed = GPIO_SPEED_FREQ_LOW;
  HAL_GPIO_WritePin (MOSI_P_GPIO_Port, MOSI_P_Pin, GPIO_PIN_RESET);
  HAL_GPIO_Init(MOSI_P_GPIO_Port, &GPIO_InitStruct);

  GPIO_InitStruct.Pin = MISO_P_Pin;
  GPIO_InitStruct.Mode = GPIO_MODE_OUTPUT_PP;
  GPIO_InitStruct.Pull = GPIO_NOPULL;
  GPIO_InitStruct.Speed = GPIO_SPEED_FREQ_LOW;
  HAL_GPIO_WritePin (MISO_P_GPIO_Port, MISO_P_Pin, GPIO_PIN_RESET);
  HAL_GPIO_Init(MISO_P_GPIO_Port, &GPIO_InitStruct);

  // SPI2 to SX1272 - drive lines as low outputs
  HAL_SPI_DeInit(&hspi2);
  GPIO_InitStruct.Pin = SCK_RF_Pin;
  GPIO_InitStruct.Mode = GPIO_MODE_OUTPUT_PP;
  GPIO_InitStruct.Pull = GPIO_NOPULL;
  GPIO_InitStruct.Speed = GPIO_SPEED_FREQ_LOW;
  HAL_GPIO_Init(SCK_RF_GPIO_Port, &GPIO_InitStruct);

  GPIO_InitStruct.Pin = MOSI_RF_Pin;
  GPIO_InitStruct.Mode = GPIO_MODE_OUTPUT_PP;
  GPIO_InitStruct.Pull = GPIO_NOPULL;
  GPIO_InitStruct.Speed = GPIO_SPEED_FREQ_LOW;
  HAL_GPIO_Init(MOSI_RF_GPIO_Port, &GPIO_InitStruct);

  GPIO_InitStruct.Pin = MISO_RF_Pin;
  GPIO_InitStruct.Mode = GPIO_MODE_OUTPUT_PP;
  GPIO_InitStruct.Pull = GPIO_NOPULL;
  GPIO_InitStruct.Speed = GPIO_SPEED_FREQ_LOW;
  HAL_GPIO_Init(MISO_RF_GPIO_Port, &GPIO_InitStruct);
}

void Error_Msg_Handler(const char *msg)
{
  // My version of Error Handler that prints a message
  __disable_irq();
  printf(msg);
  while (1)
  {
  }
}

/* USER CODE END 4 */

void Error_Handler(void)
{
  __disable_irq();
  while (1)
  {
  }
}
